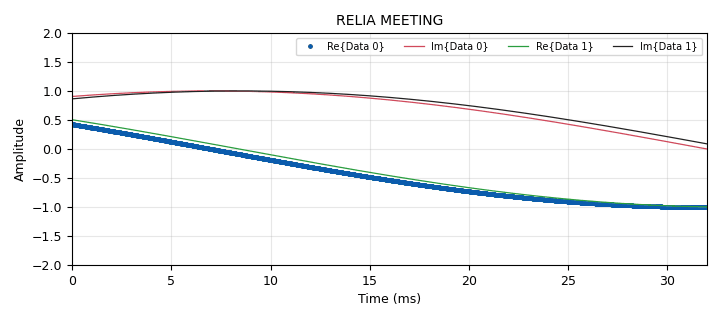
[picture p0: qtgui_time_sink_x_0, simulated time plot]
options:
  parameters:
    author: marcos
    generate_options: qt_gui
    id: default
    output_language: python
    title: Not titled yet
  states: {}

blocks:
- name: samp_rate
  id: variable
  parameters:
    value: '32000'
  states: {}
- name: analog_noise_source_x_0
  id: analog_noise_source_x
  parameters:
    amp: '0'
    noise_type: analog.GR_GAUSSIAN
    seed: '0'
    type: complex
  states: {}
- name: analog_sig_source_x_0
  id: analog_sig_source_x
  parameters:
    amp: '1'
    freq: '10'
    offset: '0'
    phase: '0'
    samp_rate: samp_rate
    type: complex
    waveform: analog.GR_COS_WAVE
  states: {}
- name: blocks_add_xx_0
  id: blocks_add_xx
  parameters:
    type: complex
  states: {}
- name: blocks_delay_0
  id: blocks_delay
  parameters:
    delay: '45'
    type: complex
  states: {}
- name: blocks_throttle_0
  id: blocks_throttle
  parameters:
    samples_per_second: samp_rate
    type: complex
  states: {}
- name: qtgui_time_sink_x_0
  id: qtgui_time_sink_x
  parameters:
    color2: dark blue
    color3: red
    color4: dark red
    name: RELIA MEETING
    nconnections: '2'
    size: '1024'
    srate: samp_rate
    style1: '0'
    style2: '2'
    type: complex
    ymax: '2'
    ymin: '-2'
    yunit: '"sdasd"'
  states: {}

connections:
- [analog_noise_source_x_0, '0', blocks_add_xx_0, '1']
- [analog_sig_source_x_0, '0', blocks_add_xx_0, '0']
- [blocks_add_xx_0, '0', blocks_throttle_0, '0']
- [blocks_delay_0, '0', qtgui_time_sink_x_0, '1']
- [blocks_throttle_0, '0', blocks_delay_0, '0']
- [blocks_throttle_0, '0', qtgui_time_sink_x_0, '0']

metadata:
  file_format: 1
  grc_version: 3.10.4.0
